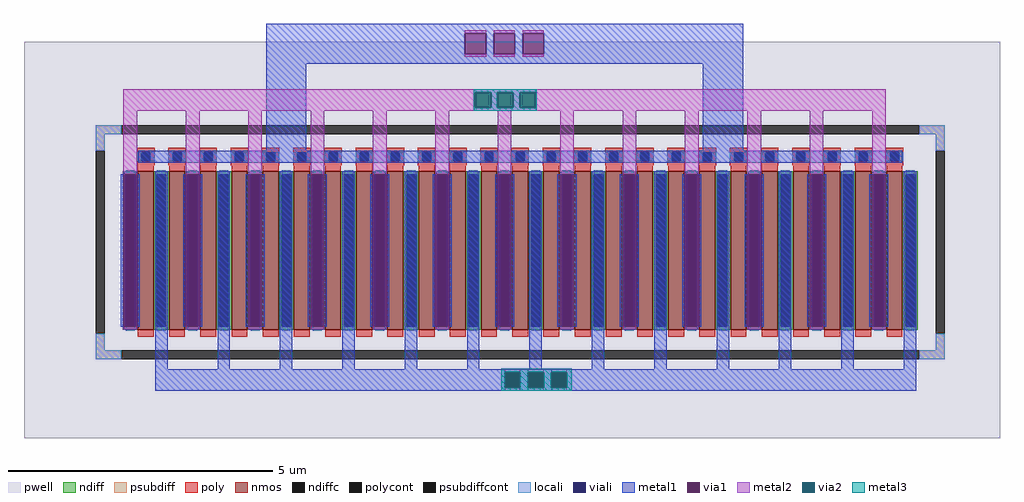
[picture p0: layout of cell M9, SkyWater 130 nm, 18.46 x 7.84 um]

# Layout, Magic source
magic
tech sky130A
magscale 1 2
<< pwell >>
rect -546 -1326 3146 174
<< metal1 >>
rect 370 207 2174 243
rect 370 127 1122 207
rect 1202 127 1231 207
rect 1311 127 1340 207
rect 1420 127 2174 207
rect 370 91 2174 127
rect 370 -237 522 91
rect 2022 -237 2174 91
rect -114 -283 2776 -237
rect -180 -903 -170 -327
rect -118 -903 -108 -327
rect -50 -1065 -3 -315
rect 56 -903 66 -327
rect 118 -903 128 -327
rect 186 -1065 233 -315
rect 292 -903 302 -327
rect 354 -903 364 -327
rect 422 -1065 469 -315
rect 528 -903 538 -327
rect 590 -903 600 -327
rect 658 -1065 705 -315
rect 764 -903 774 -327
rect 826 -903 836 -327
rect 894 -1065 941 -315
rect 1000 -903 1010 -327
rect 1062 -903 1072 -327
rect 1130 -1065 1177 -315
rect 1236 -903 1246 -327
rect 1298 -903 1308 -327
rect 1366 -1065 1413 -315
rect 1472 -903 1482 -327
rect 1534 -903 1544 -327
rect 1602 -1065 1649 -315
rect 1708 -903 1718 -327
rect 1770 -903 1780 -327
rect 1838 -1065 1885 -315
rect 1944 -903 1954 -327
rect 2006 -903 2016 -327
rect 2074 -1065 2121 -315
rect 2180 -903 2190 -327
rect 2242 -903 2252 -327
rect 2310 -1065 2357 -315
rect 2416 -903 2426 -327
rect 2478 -903 2488 -327
rect 2546 -1065 2593 -315
rect 2652 -903 2662 -327
rect 2714 -903 2724 -327
rect 2782 -1065 2829 -315
rect -50 -1075 2829 -1065
rect -50 -1135 1272 -1075
rect 1332 -1135 1360 -1075
rect 1420 -1135 1448 -1075
rect 1508 -1135 2829 -1075
rect -50 -1145 2829 -1135
<< via1 >>
rect 1122 127 1202 207
rect 1231 127 1311 207
rect 1340 127 1420 207
rect -170 -903 -118 -327
rect 66 -903 118 -327
rect 302 -903 354 -327
rect 538 -903 590 -327
rect 774 -903 826 -327
rect 1010 -903 1062 -327
rect 1246 -903 1298 -327
rect 1482 -903 1534 -327
rect 1718 -903 1770 -327
rect 1954 -903 2006 -327
rect 2190 -903 2242 -327
rect 2426 -903 2478 -327
rect 2662 -903 2714 -327
rect 1272 -1135 1332 -1075
rect 1360 -1135 1420 -1075
rect 1448 -1135 1508 -1075
<< metal2 >>
rect 1122 207 1202 217
rect 1122 117 1202 127
rect 1231 207 1311 217
rect 1231 117 1311 127
rect 1340 207 1420 217
rect 1340 117 1420 127
rect -170 -16 2714 -6
rect -170 -76 1161 -16
rect 1221 -76 1245 -16
rect 1305 -76 1329 -16
rect 1389 -76 2714 -16
rect -170 -86 2714 -76
rect -170 -327 -118 -86
rect -170 -913 -118 -903
rect 66 -327 118 -86
rect 66 -913 118 -903
rect 302 -327 354 -86
rect 302 -913 354 -903
rect 538 -327 590 -86
rect 538 -913 590 -903
rect 774 -327 826 -86
rect 774 -913 826 -903
rect 1010 -327 1062 -86
rect 1010 -913 1062 -903
rect 1246 -327 1298 -86
rect 1246 -913 1298 -903
rect 1482 -327 1534 -86
rect 1482 -913 1534 -903
rect 1718 -327 1770 -86
rect 1718 -913 1770 -903
rect 1954 -327 2006 -86
rect 1954 -913 2006 -903
rect 2190 -327 2242 -86
rect 2190 -913 2242 -903
rect 2426 -327 2478 -86
rect 2426 -913 2478 -903
rect 2662 -327 2714 -86
rect 2662 -913 2714 -903
rect 1272 -1075 1332 -1065
rect 1272 -1145 1332 -1135
rect 1360 -1075 1420 -1065
rect 1360 -1145 1420 -1135
rect 1448 -1075 1508 -1065
rect 1448 -1145 1508 -1135
<< via2 >>
rect 1161 -76 1221 -16
rect 1245 -76 1305 -16
rect 1329 -76 1389 -16
rect 1272 -1135 1332 -1075
rect 1360 -1135 1420 -1075
rect 1448 -1135 1508 -1075
<< metal3 >>
rect 1156 -16 1394 -6
rect 1156 -76 1161 -16
rect 1221 -76 1245 -16
rect 1305 -76 1329 -16
rect 1389 -76 1394 -16
rect 1156 -86 1394 -76
rect 1259 -1075 1526 -1063
rect 1259 -1135 1272 -1075
rect 1332 -1135 1360 -1075
rect 1420 -1135 1448 -1075
rect 1508 -1135 1526 -1075
rect 1259 -1146 1526 -1135
use sky130_fd_pr__nfet_01v8_QMU5EQ  sky130_fd_pr__nfet_01v8_QMU5EQ_0
transform 1 0 1331 0 1 -584
box -1642 -479 1642 479
<< end >>

# cell sky130_fd_pr__nfet_01v8_QMU5EQ: kit device sky130_fd_pr__nfet_01v8, w 3 l 0.3 m 1 nf 25 diffcov 100 polycov 100 guard 1 glc 1 grc 1 gtc 1 gbc 1 tbcov 100 rlcov 100 topc 1 botc 0 poverlap 0 doverlap 1 lmin 0.15 wmin 0.42 compatible {sky130_fd_pr__nfet_01v8 sky130_fd_pr__nfet_01v8_lvt sky130_fd_bs_flash__special_sonosfet_star sky130_fd_pr__nfet_g5v0d10v5 sky130_fd_pr__nfet_05v0_nvt} full_metal 1 viasrc 100 viadrn 100 viagate 100 viagb 0 viagr 0 viagl 0 viagt 0
